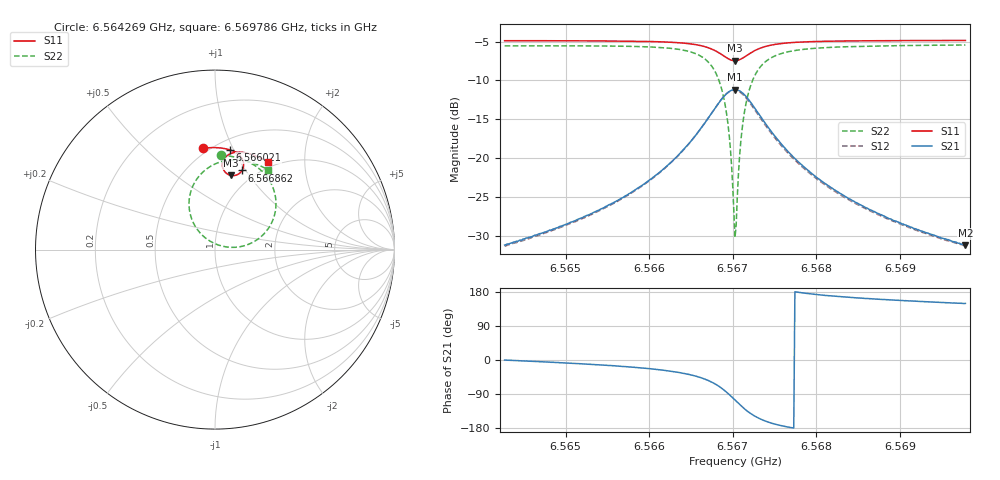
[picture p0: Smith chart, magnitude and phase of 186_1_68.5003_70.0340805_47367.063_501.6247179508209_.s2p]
#  HZ  S  RI  R  50.00
! Rohde & Schwarz Vector Network Analyzer
! Rohde-Schwarz,ZNB20-2Port,1311601062101988,3.16
! Created: UTC 3/20/2024, 4:56:54 PM
! freq[Hz]  re:S11  im:S11  re:S21  im:S21  re:S12  im:S12  re:S22  im:S22
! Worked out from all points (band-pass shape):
!   401 points, 6.564269 GHz to 6.569786 GHz, reference 50 ohm
!   highest |S21| = -11.18 dB at 6.567027 GHz (marker M1); lowest = -31.2 dB at 6.569786 GHz (marker M2)
!   |S21| within 3 dB of the highest: 6.56675 GHz to 6.567303 GHz (552.4 kHz wide, 0.00841 % of centre)
!   lowest |S11| = -7.5 dB at 6.567027 GHz (marker M3), VSWR 2.46, Z = 40.9 + j41.2 ohm
!   |S11| at or under -10 dB: nowhere
!   |S22| runs from -30.2 to -5.5 dB; largest |S21 - S12| = 0.013
!   S11 on the Smith chart (normalised r, x): 6.564269 GHz: 0.46, +0.77; 6.566021 GHz: 0.59, +0.97; 6.566862 GHz: 0.86, +0.96; 6.569786 GHz: 0.92, +1.33
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6.564269e9  -0.0693 0.565  0.0276 -7.11e-05  0.0271 -0.000535  0.0311 0.5261
6.565193e9  0.00615 0.568  0.0406 -0.00721  0.0399 -0.00777  0.1179 0.5136
6.5660206e9  0.0827 0.5559  0.0673 -0.0289  0.0663 -0.0298  0.2235 0.4678
6.5661171e9  0.0928 0.5525  0.0724 -0.0347  0.0714 -0.0356  0.2396 0.4559
6.5664206e9  0.1274 0.5335  0.0934 -0.0667  0.0918 -0.0681  0.2984 0.3928
6.5666274e9  0.1514 0.5053  0.1065 -0.1156  0.1043 -0.118  0.3361 0.2981
6.5667654e9  0.1595 0.4719  0.0995 -0.1743  0.0951 -0.1775  0.3298 0.1861
6.5668619e9  0.1508 0.4409  0.067 -0.2275  0.0594 -0.2304  0.2717 0.0866
6.5669447e9  0.1258 0.4179  0.0072 -0.2645  -0.00378 -0.2645  0.1616 0.021
6.5669722e9  0.1138 0.4136  -0.0191 -0.2701  -0.0306 -0.2683  0.1142 0.0129
6.5670136e9  0.0942 0.4123  -0.0609 -0.269  -0.0727 -0.2641  0.04 0.0193
6.5670274e9  0.0876 0.4134  -0.0749 -0.2657  -0.0862 -0.2598  0.0158 0.0266
6.5670412e9  0.0813 0.4152  -0.0883 -0.2611  -0.0993 -0.2543  -0.0074 0.0361
6.567055e9  0.075 0.4177  -0.1012 -0.2552  -0.1116 -0.2475  -0.0293 0.0481
6.5670964e9  0.0592 0.4288  -0.1349 -0.2314  -0.1429 -0.2213  -0.0847 0.0946
6.5671378e9  0.0484 0.4437  -0.1589 -0.2011  -0.1642 -0.1902  -0.1215 0.1506
6.5671929e9  0.042 0.465  -0.1755 -0.1589  -0.1776 -0.1481  -0.1432 0.2264
6.5672619e9  0.0441 0.4889  -0.178 -0.1122  -0.1771 -0.1032  -0.1388 0.3077
6.5675101e9  0.0823 0.5327  -0.1349 -0.0251  -0.1319 -0.0211  -0.041 0.4534
6.5679515e9  0.1429 0.5428  -0.0787 0.00833  -0.0769 0.00952  0.0882 0.4992
6.5688756e9  0.2281 0.5218  -0.0379 0.0148  -0.0372 0.0151  0.2181 0.4806
6.5697859e9  0.2952 0.4889  -0.0236 0.014  -0.023 0.0144  0.2968 0.4438
